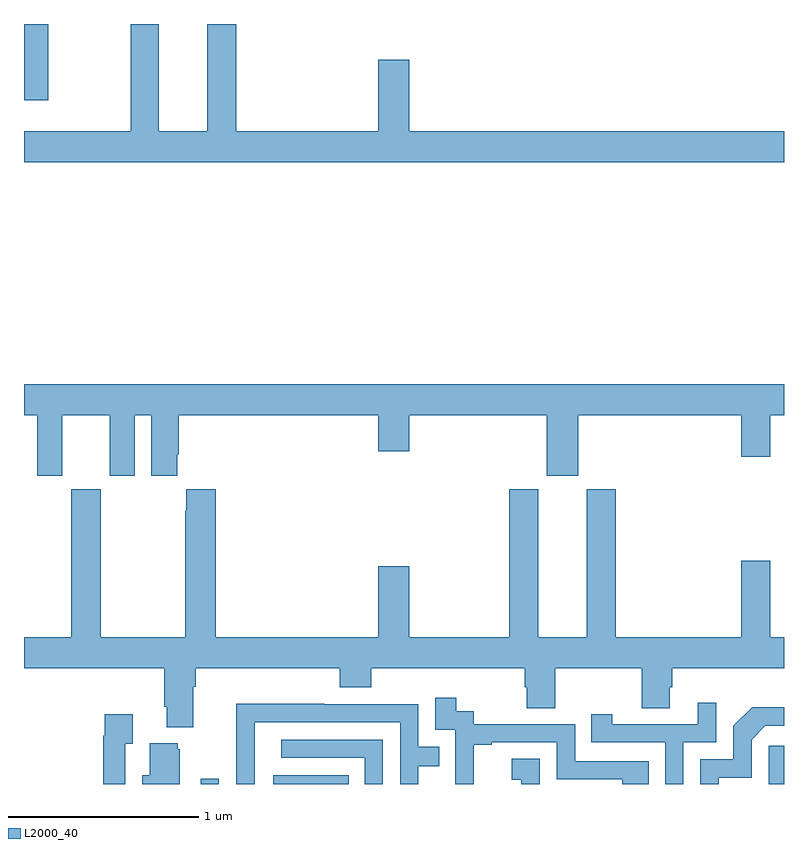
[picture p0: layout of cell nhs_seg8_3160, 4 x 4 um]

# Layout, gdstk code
import gdstk
lib = gdstk.Library(unit=1e-6, precision=1e-09)
def R(c, l, rs):  # rectangles x0, y0, x1, y1
    for r in rs: c.add(gdstk.rectangle(r[:2], r[2:], *l))
def P(c, l, *ps):  # polygons
    for p in ps: c.add(gdstk.Polygon(p, *l))
L2000_40 = (2000, 40)

nhs_seg8_3160 = lib.new_cell('nhs_seg8_3160')
R(nhs_seg8_3160, L2000_40, [(307.929,1107.9,308.025,1107.928), (308.312,1107.9,308.708,1107.946), (310.92,1107.9,311,1108.102), (307,1111.5,307.128,1111.9)])
P(nhs_seg8_3160, L2000_40, [(311,1111.336),(309.028,1111.336),(309.028,1111.711),(308.864,1111.711),(308.864,1111.336),(308.117,1111.336),(308.117,1111.9),(307.964,1111.9),(307.964,1111.336),(307.708,1111.336),(307.708,1111.9),(307.561,1111.9),(307.561,1111.336),(307,1111.336),(307,1111.172),(311,1111.172)],
  [(307.201,1109.84),(307.451,1109.84),(307.451,1109.523),(307.582,1109.523),(307.582,1109.84),(307.67,1109.84),(307.67,1109.523),(307.807,1109.523),(307.807,1109.635),(307.814,1109.635),(307.814,1109.84),(308.864,1109.84),(308.864,1109.652),(309.028,1109.652),(309.028,1109.84),(309.752,1109.84),(309.752,1109.523),(309.916,1109.523),(309.916,1109.84),(310.775,1109.84),(310.775,1109.622),(310.927,1109.622),(310.927,1109.84),(311,1109.84),(311,1110.004),(307,1110.004),(307,1109.84),(307.07,1109.84),(307.07,1109.523),(307.201,1109.523)],
  [(307.891,1108.412),(307.904,1108.412),(307.904,1108.508),(308.663,1108.508),(308.663,1108.409),(308.828,1108.409),(308.828,1108.508),(309.635,1108.508),(309.635,1108.41),(309.647,1108.41),(309.647,1108.3),(309.795,1108.3),(309.795,1108.508),(310.252,1108.508),(310.252,1108.3),(310.399,1108.3),(310.399,1108.41),(310.412,1108.41),(310.412,1108.508),(311,1108.508),(311,1108.672),(310.927,1108.672),(310.927,1109.074),(310.775,1109.074),(310.775,1108.672),(310.115,1108.672),(310.115,1109.451),(309.962,1109.451),(309.962,1108.672),(309.706,1108.672),(309.706,1109.451),(309.554,1109.451),(309.554,1108.672),(309.028,1108.672),(309.028,1109.047),(308.864,1109.047),(308.864,1108.672),(308.009,1108.672),(308.009,1109.452),(307.853,1109.452),(307.853,1109.339),(307.849,1109.339),(307.849,1108.672),(307.404,1108.672),(307.404,1109.452),(307.249,1109.452),(307.249,1108.672),(307,1108.672),(307,1108.508),(307.739,1108.508),(307.739,1108.306),(307.751,1108.306),(307.751,1108.199),(307.891,1108.199)],
  [(309.368,1108.107),(309.463,1108.107),(309.463,1108.119),(309.804,1108.119),(309.804,1107.924),(310.149,1107.924),(310.149,1107.9),(310.289,1107.9),(310.289,1108.02),(309.9,1108.02),(309.9,1108.215),(309.366,1108.215),(309.366,1108.284),(309.274,1108.284),(309.274,1108.354),(309.165,1108.354),(309.165,1108.185),(309.27,1108.185),(309.27,1107.956),(309.269,1107.956),(309.269,1107.9),(309.368,1107.9)],
  [(310.47,1108.119),(310.644,1108.119),(310.644,1108.327),(310.547,1108.327),(310.547,1108.215),(310.096,1108.215),(310.096,1108.267),(309.985,1108.267),(309.985,1108.119),(310.374,1108.119),(310.374,1107.9),(310.47,1107.9)],
  [(308.214,1107.97),(308.215,1107.97),(308.215,1108.224),(308.979,1108.224),(308.979,1107.9),(309.075,1107.9),(309.075,1107.994),(309.185,1107.994),(309.185,1108.095),(309.075,1108.095),(309.075,1108.32),(308.579,1108.32),(308.579,1108.322),(308.116,1108.322),(308.116,1108.015),(308.118,1108.015),(308.118,1107.9),(308.214,1107.9)],
  [(310.657,1107.933),(310.83,1107.933),(310.83,1108.134),(310.902,1108.206),(311,1108.206),(311,1108.304),(310.832,1108.304),(310.734,1108.206),(310.734,1108.029),(310.56,1108.029),(310.56,1107.9),(310.657,1107.9)],
  [(307.533,1108.111),(307.573,1108.111),(307.573,1108.267),(307.425,1108.267),(307.425,1108.154),(307.417,1108.154),(307.417,1107.9),(307.533,1107.9)],
  [(308.889,1108.134),(308.355,1108.134),(308.355,1108.038),(308.793,1108.038),(308.793,1107.9),(308.889,1107.9)],
  [(307.819,1108.083),(307.808,1108.083),(307.808,1108.114),(307.661,1108.114),(307.661,1107.946),(307.622,1107.946),(307.622,1107.9),(307.819,1107.9)],
  [(309.714,1108.033),(309.567,1108.033),(309.567,1107.923),(309.616,1107.923),(309.616,1107.9),(309.714,1107.9)])

lib.write_gds('nhs_seg8_3160.gds')
